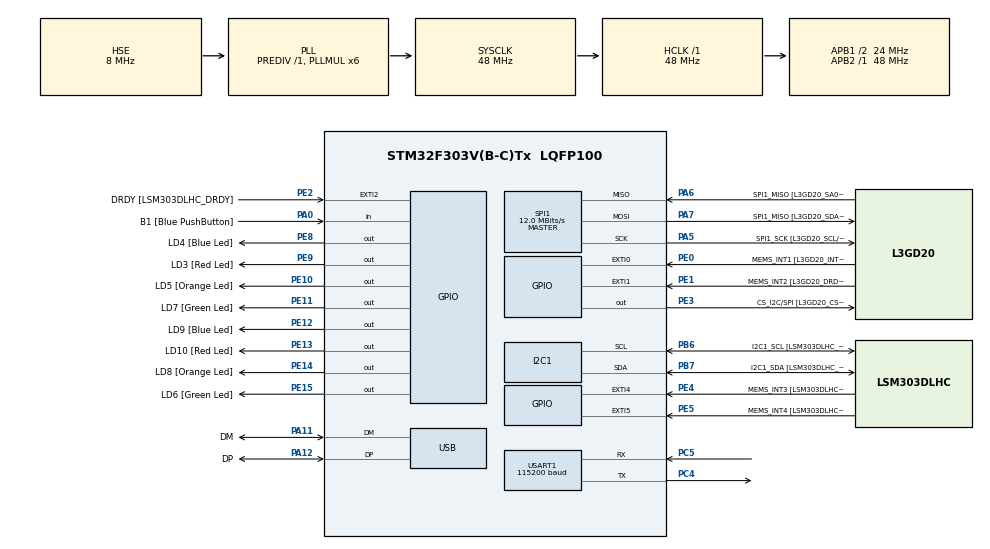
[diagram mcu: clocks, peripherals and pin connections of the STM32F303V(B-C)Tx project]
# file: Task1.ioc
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I2C1.Timing=0x00201D2B
I2C1.Timing-I2C=0x2000090E
Mcu.Family=STM32F3
Mcu.Name=STM32F303V(B-C)Tx
Mcu.Package=LQFP100
NVIC.PriorityGroup=NVIC_PRIORITYGROUP_0
NVIC.USART1_IRQn=true\:0\:0\:false\:false\:true\:true\:true\:true
PA0.GPIO_Label=B1 [Blue PushButton]
PA0.Signal=GPIO_Input
PA11.GPIO_Label=DM
PA11.Mode=Device
PA11.Signal=USB_DM
PA12.GPIO_Label=DP
PA12.Mode=Device
PA12.Signal=USB_DP
PA13.GPIO_Label=SWDIO
PA13.Mode=Serial_Wire
PA13.Signal=SYS_JTMS-SWDIO
PA14.GPIO_Label=SWCLK
PA14.Mode=Serial_Wire
PA14.Signal=SYS_JTCK-SWCLK
PA5.GPIO_Label=SPI1_SCK [L3GD20_SCL/SPC]
PA5.Mode=Full_Duplex_Master
PA5.Signal=SPI1_SCK
PA6.GPIO_Label=SPI1_MISO [L3GD20_SA0/SDO]
PA6.Mode=Full_Duplex_Master
PA6.Signal=SPI1_MISO
PA7.GPIO_Label=SPI1_MISO [L3GD20_SDA/SDI/SDO]
PA7.Mode=Full_Duplex_Master
PA7.Signal=SPI1_MOSI
PB3.GPIO_Label=SWO
PB3.Signal=SYS_JTDO-TRACESWO
PB6.GPIO_Label=I2C1_SCL [LSM303DLHC_SCL]
PB6.GPIO_Pu=GPIO_PULLUP
PB6.Mode=I2C
PB6.Signal=I2C1_SCL
PB7.GPIO_Label=I2C1_SDA [LSM303DLHC_SDA]
PB7.GPIO_Pu=GPIO_PULLUP
PB7.Mode=I2C
PB7.Signal=I2C1_SDA
PC14-OSC32_IN.GPIO_Label=OSC32_IN
PC14-OSC32_IN.Signal=RCC_OSC32_IN
PC15-OSC32_OUT.GPIO_Label=OSC32_OUT
PC15-OSC32_OUT.Signal=RCC_OSC32_OUT
PC4.Mode=Asynchronous
PC4.Signal=USART1_TX
PC5.Mode=Asynchronous
PC5.Signal=USART1_RX
PE0.GPIO_Label=MEMS_INT1 [L3GD20_INT1]
PE0.GPIO_ModeDefaultEXTI=GPIO_MODE_EVT_RISING
PE0.Signal=GPXTI0
PE1.GPIO_Label=MEMS_INT2 [L3GD20_DRDY/INT2]
PE1.GPIO_ModeDefaultEXTI=GPIO_MODE_EVT_RISING
PE1.Signal=GPXTI1
PE10.GPIO_Label=LD5 [Orange Led]
PE10.Signal=GPIO_Output
PE11.GPIO_Label=LD7 [Green Led]
PE11.Signal=GPIO_Output
PE12.GPIO_Label=LD9 [Blue Led]
PE12.Signal=GPIO_Output
PE13.GPIO_Label=LD10 [Red Led]
PE13.Signal=GPIO_Output
PE14.GPIO_Label=LD8 [Orange Led]
PE14.Signal=GPIO_Output
PE15.GPIO_Label=LD6 [Green Led]
PE15.Signal=GPIO_Output
PE2.GPIO_Label=DRDY [LSM303DLHC_DRDY]
PE2.GPIO_ModeDefaultEXTI=GPIO_MODE_EVT_RISING
PE2.Signal=GPXTI2
PE3.GPIO_Label=CS_I2C/SPI [L3GD20_CS_I2C/SPI]
PE3.Signal=GPIO_Output
PE4.GPIO_Label=MEMS_INT3 [LSM303DLHC_INT1]
PE4.GPIO_ModeDefaultEXTI=GPIO_MODE_EVT_RISING
PE4.Signal=GPXTI4
PE5.GPIO_Label=MEMS_INT4 [LSM303DLHC_INT2]
PE5.GPIO_ModeDefaultEXTI=GPIO_MODE_EVT_RISING
PE5.Signal=GPXTI5
PE8.GPIO_Label=LD4 [Blue Led]
PE8.Signal=GPIO_Output
PE9.GPIO_Label=LD3 [Red Led]
PE9.Signal=GPIO_Output
PF0-OSC_IN.GPIO_Label=OSC_IN
PF0-OSC_IN.Mode=HSE-External-Clock-Source
PF0-OSC_IN.Signal=RCC_OSC_IN
PF1-OSC_OUT.GPIO_Label=OSC_OUT
PF1-OSC_OUT.Signal=RCC_OSC_OUT
ProjectManager.HeapSize=0x200
ProjectManager.StackSize=0x400
ProjectManager.TargetToolchain=CMake
RCC.AHBFreq_Value=48000000
RCC.APB1CLKDivider=RCC_HCLK_DIV2
RCC.APB1Freq_Value=24000000
RCC.APB1TimFreq_Value=48000000
RCC.APB2Freq_Value=48000000
RCC.APB2TimFreq_Value=48000000
RCC.CortexFreq_Value=48000000
RCC.HCLKFreq_Value=48000000
RCC.HSE_VALUE=8000000
RCC.HSI_VALUE=8000000
RCC.LSE_VALUE=32768
RCC.PLLMUL=RCC_PLL_MUL6
RCC.SYSCLKFreq_VALUE=48000000
RCC.SYSCLKSourceVirtual=RCC_SYSCLKSOURCE_PLLCLK
RCC.USBFreq_Value=48000000
SPI1.BaudRatePrescaler=SPI_BAUDRATEPRESCALER_4
SPI1.BaudRatePrescaler-Full_Duplex_Master=SPI_BAUDRATEPRESCALER_2
SPI1.CalculateBaudRate=12.0 MBits/s
SPI1.CalculateBaudRate-Full_Duplex_Master=24.0 MBits/s
SPI1.Direction=SPI_DIRECTION_2LINES
SPI1.Mode=SPI_MODE_MASTER
SPI1.Mode-Full_Duplex_Master=SPI_MODE_MASTER
SPI1.VirtualType=VM_MASTER
USART1.BaudRate=115200
USART1.VirtualMode-Asynchronous=VM_ASYNC
board=STM32F3DISCOVERY

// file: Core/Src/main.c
/* USER CODE BEGIN Header */
/**
  ******************************************************************************
  * @file           : main.c
  * @brief          : Main program body
  ******************************************************************************
  * @attention
  *
  * Copyright (c) 2026 STMicroelectronics.
  * All rights reserved.
  *
  * This software is licensed under terms that can be found in the LICENSE file
  * in the root directory of this software component.
  * If no LICENSE file comes with this software, it is provided AS-IS.
  *
  ******************************************************************************
  */
/* USER CODE END Header */
#include "main.h"
#include "stm32f3xx_hal_uart.h"
#include<stdlib.h>
#include<string.h>
#include <stdio.h>

I2C_HandleTypeDef hi2c1;

SPI_HandleTypeDef hspi1;

UART_HandleTypeDef huart1;

PCD_HandleTypeDef hpcd_USB_FS;

void SystemClock_Config(void);
static void MX_GPIO_Init(void);
static void MX_I2C1_Init(void);
static void MX_SPI1_Init(void);
static void MX_USART1_UART_Init(void);
static void MX_USB_PCD_Init(void);

int main(void)
{

  /* MCU Configuration--------------------------------------------------------*/

  /* Reset of all peripherals, Initializes the Flash interface and the Systick. */
  HAL_Init();

  /* Configure the system clock */
  SystemClock_Config();

  /* Initialize all configured peripherals */
  MX_GPIO_Init();
  MX_I2C1_Init();
  MX_SPI1_Init();
  MX_USART1_UART_Init();
  MX_USB_PCD_Init();

  /* Infinite loop */
  /* USER CODE BEGIN WHILE */

  int n = 5;
  int* array = (int*)malloc(n*sizeof(int));

  if (array != NULL){
    for (int i = 0; i < n; i++){
      array[i] = i * 2;
    }
  }

  int* array2 = (int*)calloc(n, sizeof(int));
  if (array != NULL){
    for (int i = 0; i < n; i++){
      array2[i] = 0;
      array2[i] = i + 1;
    }
  }

  char buffer[50];
  for (int i = 0; i < n; i++){
    sprintf(buffer, "array[%d] = %d, array2[%d] = %d\n\r", i, array[i], i, array2[i]);
    HAL_UART_Transmit(&huart1, (uint8_t*)buffer, strlen(buffer), HAL_MAX_DELAY);
  }

  free(array);
  free(array2);

  array = NULL;
  array2 = NULL;

  sprintf(buffer, "ARRAY 1 + 2 FREE\n\r");
  HAL_UART_Transmit(&huart1, (uint8_t*)buffer, strlen(buffer), HAL_MAX_DELAY);

  while (1)
  {
    /* USER CODE END WHILE */

  }
}

void SystemClock_Config(void)
{
  RCC_OscInitTypeDef RCC_OscInitStruct = {0};
  RCC_ClkInitTypeDef RCC_ClkInitStruct = {0};
  RCC_PeriphCLKInitTypeDef PeriphClkInit = {0};

  /** Initializes the RCC Oscillators according to the specified parameters
  * in the RCC_OscInitTypeDef structure.
  */
  RCC_OscInitStruct.OscillatorType = RCC_OSCILLATORTYPE_HSI|RCC_OSCILLATORTYPE_HSE;
  RCC_OscInitStruct.HSEState = RCC_HSE_BYPASS;
  RCC_OscInitStruct.HSEPredivValue = RCC_HSE_PREDIV_DIV1;
  RCC_OscInitStruct.HSIState = RCC_HSI_ON;
  RCC_OscInitStruct.HSICalibrationValue = RCC_HSICALIBRATION_DEFAULT;
  RCC_OscInitStruct.PLL.PLLState = RCC_PLL_ON;
  RCC_OscInitStruct.PLL.PLLSource = RCC_PLLSOURCE_HSE;
  RCC_OscInitStruct.PLL.PLLMUL = RCC_PLL_MUL6;
  if (HAL_RCC_OscConfig(&RCC_OscInitStruct) != HAL_OK)
  {
    Error_Handler();
  }

  /** Initializes the CPU, AHB and APB buses clocks
  */
  RCC_ClkInitStruct.ClockType = RCC_CLOCKTYPE_HCLK|RCC_CLOCKTYPE_SYSCLK
                              |RCC_CLOCKTYPE_PCLK1|RCC_CLOCKTYPE_PCLK2;
  RCC_ClkInitStruct.SYSCLKSource = RCC_SYSCLKSOURCE_PLLCLK;
  RCC_ClkInitStruct.AHBCLKDivider = RCC_SYSCLK_DIV1;
  RCC_ClkInitStruct.APB1CLKDivider = RCC_HCLK_DIV2;
  RCC_ClkInitStruct.APB2CLKDivider = RCC_HCLK_DIV1;

  if (HAL_RCC_ClockConfig(&RCC_ClkInitStruct, FLASH_LATENCY_1) != HAL_OK)
  {
    Error_Handler();
  }
  PeriphClkInit.PeriphClockSelection = RCC_PERIPHCLK_USB|RCC_PERIPHCLK_USART1
                              |RCC_PERIPHCLK_I2C1;
  PeriphClkInit.Usart1ClockSelection = RCC_USART1CLKSOURCE_PCLK2;
  PeriphClkInit.I2c1ClockSelection = RCC_I2C1CLKSOURCE_HSI;
  PeriphClkInit.USBClockSelection = RCC_USBCLKSOURCE_PLL;
  if (HAL_RCCEx_PeriphCLKConfig(&PeriphClkInit) != HAL_OK)
  {
    Error_Handler();
  }
}

static void MX_I2C1_Init(void)
{

  hi2c1.Instance = I2C1;
  hi2c1.Init.Timing = 0x00201D2B;
  hi2c1.Init.OwnAddress1 = 0;
  hi2c1.Init.AddressingMode = I2C_ADDRESSINGMODE_7BIT;
  hi2c1.Init.DualAddressMode = I2C_DUALADDRESS_DISABLE;
  hi2c1.Init.OwnAddress2 = 0;
  hi2c1.Init.OwnAddress2Masks = I2C_OA2_NOMASK;
  hi2c1.Init.GeneralCallMode = I2C_GENERALCALL_DISABLE;
  hi2c1.Init.NoStretchMode = I2C_NOSTRETCH_DISABLE;
  if (HAL_I2C_Init(&hi2c1) != HAL_OK)
  {
    Error_Handler();
  }

  /** Configure Analogue filter
  */
  if (HAL_I2CEx_ConfigAnalogFilter(&hi2c1, I2C_ANALOGFILTER_ENABLE) != HAL_OK)
  {
    Error_Handler();
  }

  /** Configure Digital filter
  */
  if (HAL_I2CEx_ConfigDigitalFilter(&hi2c1, 0) != HAL_OK)
  {
    Error_Handler();
  }

}

static void MX_SPI1_Init(void)
{

  /* SPI1 parameter configuration*/
  hspi1.Instance = SPI1;
  hspi1.Init.Mode = SPI_MODE_MASTER;
  hspi1.Init.Direction = SPI_DIRECTION_2LINES;
  hspi1.Init.DataSize = SPI_DATASIZE_4BIT;
  hspi1.Init.CLKPolarity = SPI_POLARITY_LOW;
  hspi1.Init.CLKPhase = SPI_PHASE_1EDGE;
  hspi1.Init.NSS = SPI_NSS_SOFT;
  hspi1.Init.BaudRatePrescaler = SPI_BAUDRATEPRESCALER_4;
  hspi1.Init.FirstBit = SPI_FIRSTBIT_MSB;
  hspi1.Init.TIMode = SPI_TIMODE_DISABLE;
  hspi1.Init.CRCCalculation = SPI_CRCCALCULATION_DISABLE;
  hspi1.Init.CRCPolynomial = 7;
  hspi1.Init.CRCLength = SPI_CRC_LENGTH_DATASIZE;
  hspi1.Init.NSSPMode = SPI_NSS_PULSE_ENABLE;
  if (HAL_SPI_Init(&hspi1) != HAL_OK)
  {
    Error_Handler();
  }

}

static void MX_USART1_UART_Init(void)
{

  huart1.Instance = USART1;
  huart1.Init.BaudRate = 115200;
  huart1.Init.WordLength = UART_WORDLENGTH_8B;
  huart1.Init.StopBits = UART_STOPBITS_1;
  huart1.Init.Parity = UART_PARITY_NONE;
  huart1.Init.Mode = UART_MODE_TX_RX;
  huart1.Init.HwFlowCtl = UART_HWCONTROL_NONE;
  huart1.Init.OverSampling = UART_OVERSAMPLING_16;
  huart1.Init.OneBitSampling = UART_ONE_BIT_SAMPLE_DISABLE;
  huart1.AdvancedInit.AdvFeatureInit = UART_ADVFEATURE_NO_INIT;
  if (HAL_UART_Init(&huart1) != HAL_OK)
  {
    Error_Handler();
  }

}

static void MX_USB_PCD_Init(void)
{

  hpcd_USB_FS.Instance = USB;
  hpcd_USB_FS.Init.dev_endpoints = 8;
  hpcd_USB_FS.Init.speed = PCD_SPEED_FULL;
  hpcd_USB_FS.Init.phy_itface = PCD_PHY_EMBEDDED;
  hpcd_USB_FS.Init.low_power_enable = DISABLE;
  hpcd_USB_FS.Init.battery_charging_enable = DISABLE;
  if (HAL_PCD_Init(&hpcd_USB_FS) != HAL_OK)
  {
    Error_Handler();
  }

}

static void MX_GPIO_Init(void)
{
  GPIO_InitTypeDef GPIO_InitStruct = {0};

  /* GPIO Ports Clock Enable */
  __HAL_RCC_GPIOE_CLK_ENABLE();
  __HAL_RCC_GPIOC_CLK_ENABLE();
  __HAL_RCC_GPIOF_CLK_ENABLE();
  __HAL_RCC_GPIOA_CLK_ENABLE();
  __HAL_RCC_GPIOB_CLK_ENABLE();

  /*Configure GPIO pin Output Level */
  HAL_GPIO_WritePin(GPIOE, CS_I2C_SPI_Pin|LD4_Pin|LD3_Pin|LD5_Pin
                          |LD7_Pin|LD9_Pin|LD10_Pin|LD8_Pin
                          |LD6_Pin, GPIO_PIN_RESET);

  /*Configure GPIO pins : DRDY_Pin MEMS_INT3_Pin MEMS_INT4_Pin MEMS_INT1_Pin
                           MEMS_INT2_Pin */
  GPIO_InitStruct.Pin = DRDY_Pin|MEMS_INT3_Pin|MEMS_INT4_Pin|MEMS_INT1_Pin
                          |MEMS_INT2_Pin;
  GPIO_InitStruct.Mode = GPIO_MODE_EVT_RISING;
  GPIO_InitStruct.Pull = GPIO_NOPULL;
  HAL_GPIO_Init(GPIOE, &GPIO_InitStruct);

  /*Configure GPIO pins : CS_I2C_SPI_Pin LD4_Pin LD3_Pin LD5_Pin
                           LD7_Pin LD9_Pin LD10_Pin LD8_Pin
                           LD6_Pin */
  GPIO_InitStruct.Pin = CS_I2C_SPI_Pin|LD4_Pin|LD3_Pin|LD5_Pin
                          |LD7_Pin|LD9_Pin|LD10_Pin|LD8_Pin
                          |LD6_Pin;
  GPIO_InitStruct.Mode = GPIO_MODE_OUTPUT_PP;
  GPIO_InitStruct.Pull = GPIO_NOPULL;
  GPIO_InitStruct.Speed = GPIO_SPEED_FREQ_LOW;
  HAL_GPIO_Init(GPIOE, &GPIO_InitStruct);

  /*Configure GPIO pin : B1_Pin */
  GPIO_InitStruct.Pin = B1_Pin;
  GPIO_InitStruct.Mode = GPIO_MODE_INPUT;
  GPIO_InitStruct.Pull = GPIO_NOPULL;
  HAL_GPIO_Init(B1_GPIO_Port, &GPIO_InitStruct);

}

void Error_Handler(void)
{
  __disable_irq();
  while (1)
  {
  }
}
